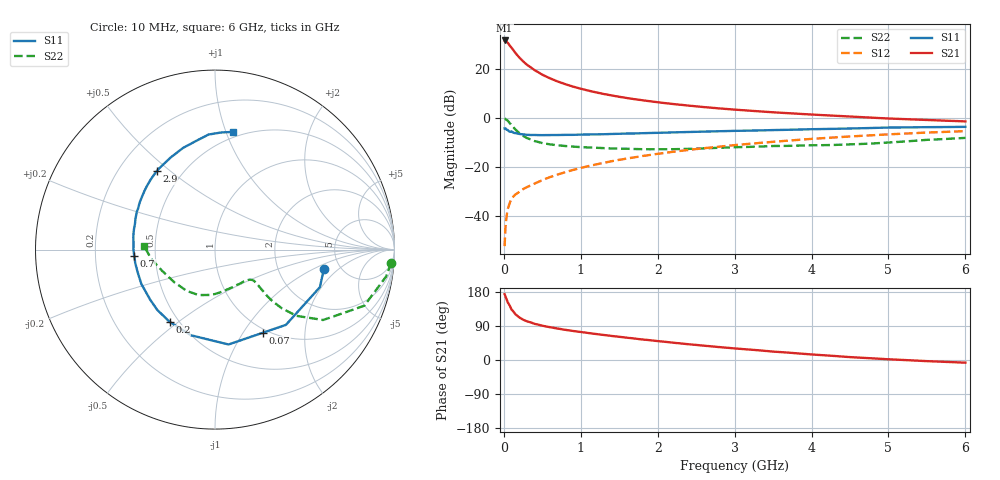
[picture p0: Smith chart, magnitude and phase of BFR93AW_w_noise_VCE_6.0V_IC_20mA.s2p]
! Infineon Technologies  Discrete & RF Semiconductors
! BFR93AW
! VCE =  6.0 V,  IC =  20 mA
! Common Emitter S-Parameters:  Jan 2017
# GHz  S  MA  R  50
!  f  S11  S21  S12  S22
! GHz  MAG  ANG  MAG  ANG  MAG  ANG  MAG  ANG
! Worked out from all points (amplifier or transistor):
!   77 points, 10 MHz to 6 GHz, reference 50 ohm
!   highest |S21| = 31.8 dB at 10 MHz (marker M1)
!   |S21| within 3 dB of that: start of sweep to 100.9 MHz
!   unconditionally stable (mu >= 1): 690.6 MHz to 2.04 GHz
!   at 130 MHz: K = 0.43, MSG = 29.7 dB, |S12| = -31.9 dB
!   at 2.2 GHz: K = 0.99, MSG = 9.8 dB, |S12| = -13.8 dB
!   at 6 GHz: K = 0.87, MSG = 2.0 dB, |S12| = -5.3 dB
!   lowest NFmin = 1.52 dB at 450 MHz
!   S11 on the Smith chart (normalised r, x): 10 MHz: 3.75, -1.28; 70 MHz: 0.95, -1.23; 200 MHz: 0.45, -0.46; 700 MHz: 0.38, -0.03; 2.9 GHz: 0.36, +0.45; 6 GHz: 0.45, +1.06
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0.01  0.6163 -9.9  38.85 173.8  0.0024 86.3  0.985 -4.3
0.02  0.6208 -19.7  38.82 168.3  0.0055 81.5  0.9653 -8.9
0.05  0.5762 -46.7  34.96 152.5  0.0136 71.8  0.8886 -20.6
0.07  0.5346 -60.0  31.61 145.8  0.0171 66.1  0.816 -25.0
0.1  0.5339 -81.9  27.63 133.1  0.0225 61.0  0.7183 -33.1
0.15  0.4957 -105.7  21.65 120.7  0.0274 58.0  0.5851 -39.1
0.2  0.4751 -122.2  17.45 112.5  0.0309 57.0  0.4957 -41.3
0.25  0.4652 -133.8  14.55 106.4  0.0353 57.2  0.4346 -41.9
0.3  0.4563 -142.5  12.38 102.1  0.0387 57.8  0.3917 -41.7
0.4  0.4528 -155.0  9.566 95.4  0.0457 61.3  0.3397 -40.5
0.5  0.449 -163.5  7.742 90.5  0.0538 63.0  0.3092 -39.5
0.6  0.4506 -170.3  6.523 86.5  0.0623 64.4  0.2908 -38.9
0.7  0.4514 -175.7  5.621 83.0  0.0702 66.1  0.2779 -38.7
0.9  0.4551 175.5  4.409 76.6  0.087 67.8  0.2612 -40.0
1.1  0.4634 168.4  3.654 71.2  0.1043 68.2  0.2512 -42.3
1.5  0.4784 156.9  2.733 61.2  0.1402 67.5  0.2371 -50.3
2.1  0.5053 142.6  2.028 47.9  0.1953 64.2  0.231 -67.8
2.9  0.544 126.6  1.537 32.4  0.2705 58.1  0.2505 -93.1
3.1  0.5519 122.8  1.456 29.0  0.2896 56.3  0.2559 -98.9
4.1  0.5969 106.0  1.163 13.3  0.385 46.4  0.2793 -127.9
5.1  0.6438 91.9  0.969 1.0  0.4737 35.2  0.3243 -161.1
6  0.6633 81.3  0.857 -7.1  0.5423 24.9  0.3944 177.4
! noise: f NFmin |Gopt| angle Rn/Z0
0.45  1.52  0.14  161  0.15
0.9  1.8  0.23  175  0.15
1.9  2.8  0.48  -138  0.23
2.4  3.43  0.54  -126  0.45
